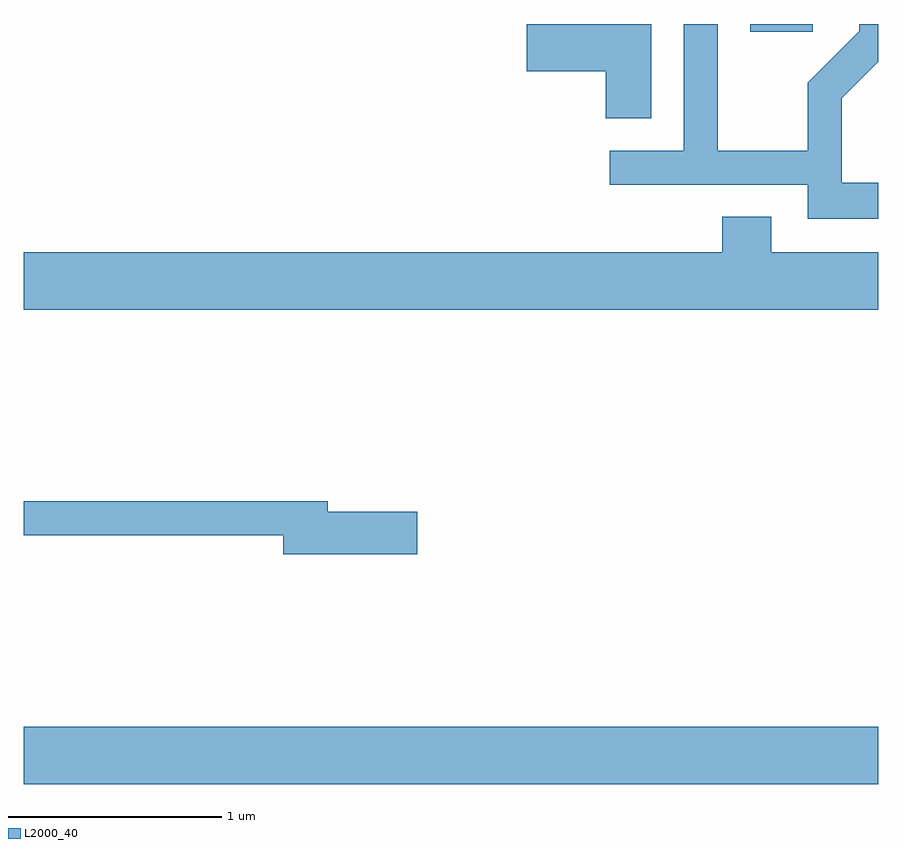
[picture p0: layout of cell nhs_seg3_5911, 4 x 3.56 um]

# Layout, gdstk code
import gdstk
lib = gdstk.Library(unit=1e-6, precision=1e-09)
def R(c, l, rs):  # rectangles x0, y0, x1, y1
    for r in rs: c.add(gdstk.rectangle(r[:2], r[2:], *l))
def P(c, l, *ps):  # polygons
    for p in ps: c.add(gdstk.Polygon(p, *l))
L2000_40 = (2000, 40)

nhs_seg3_5911 = lib.new_cell('nhs_seg3_5911')
R(nhs_seg3_5911, L2000_40, [(357.611,1250.336,361.611,1250.604), (361.011,1253.856,361.304,1253.892)])
P(nhs_seg3_5911, L2000_40, [(360.549,1253.892),(359.966,1253.892),(359.966,1253.671),(360.336,1253.671),(360.336,1253.451),(360.549,1253.451)],
  [(361.611,1253.149),(361.439,1253.149),(361.439,1253.544),(361.611,1253.716),(361.611,1253.892),(361.521,1253.892),(361.521,1253.857),(361.281,1253.617),(361.281,1253.299),(360.859,1253.299),(360.859,1253.892),(360.701,1253.892),(360.701,1253.299),(360.353,1253.299),(360.353,1253.141),(361.281,1253.141),(361.281,1252.981),(361.611,1252.981)],
  [(361.611,1252.824),(361.109,1252.824),(361.109,1252.989),(360.881,1252.989),(360.881,1252.824),(357.611,1252.824),(357.611,1252.556),(361.611,1252.556)],
  [(359.454,1251.609),(359.034,1251.609),(359.034,1251.659),(357.611,1251.659),(357.611,1251.501),(358.826,1251.501),(358.826,1251.411),(359.454,1251.411)])

lib.write_gds('nhs_seg3_5911.gds')
